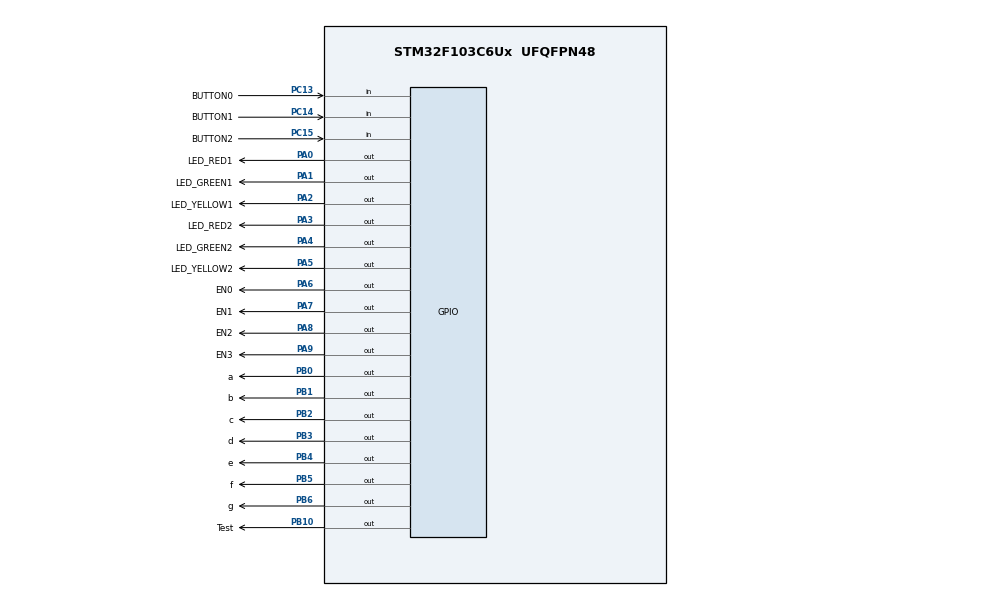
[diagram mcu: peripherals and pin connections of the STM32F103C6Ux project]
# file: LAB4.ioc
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Mcu.Family=STM32F1
Mcu.Name=STM32F103C6Ux
Mcu.Package=UFQFPN48
NVIC.PriorityGroup=NVIC_PRIORITYGROUP_4
NVIC.TIM2_IRQn=true\:0\:0\:false\:false\:true\:true\:true\:true
PA0-WKUP.GPIO_Label=LED_RED1
PA0-WKUP.Signal=GPIO_Output
PA1.GPIO_Label=LED_GREEN1
PA1.Signal=GPIO_Output
PA2.GPIO_Label=LED_YELLOW1
PA2.Signal=GPIO_Output
PA3.GPIO_Label=LED_RED2
PA3.Signal=GPIO_Output
PA4.GPIO_Label=LED_GREEN2
PA4.Signal=GPIO_Output
PA5.GPIO_Label=LED_YELLOW2
PA5.Signal=GPIO_Output
PA6.GPIO_Label=EN0
PA6.Signal=GPIO_Output
PA7.GPIO_Label=EN1
PA7.Signal=GPIO_Output
PA8.GPIO_Label=EN2
PA8.Signal=GPIO_Output
PA9.GPIO_Label=EN3
PA9.Signal=GPIO_Output
PB0.GPIO_Label=a
PB0.Signal=GPIO_Output
PB1.GPIO_Label=b
PB1.Signal=GPIO_Output
PB10.GPIO_Label=Test
PB10.Signal=GPIO_Output
PB2.GPIO_Label=c
PB2.Signal=GPIO_Output
PB3.GPIO_Label=d
PB3.Signal=GPIO_Output
PB4.GPIO_Label=e
PB4.Signal=GPIO_Output
PB5.GPIO_Label=f
PB5.Signal=GPIO_Output
PB6.GPIO_Label=g
PB6.Signal=GPIO_Output
PC13-TAMPER-RTC.GPIO_Label=BUTTON0
PC13-TAMPER-RTC.GPIO_PuPd=GPIO_PULLUP
PC13-TAMPER-RTC.Signal=GPIO_Input
PC14-OSC32_IN.GPIO_Label=BUTTON1
PC14-OSC32_IN.GPIO_PuPd=GPIO_PULLUP
PC14-OSC32_IN.Signal=GPIO_Input
PC15-OSC32_OUT.GPIO_Label=BUTTON2
PC15-OSC32_OUT.GPIO_PuPd=GPIO_PULLUP
PC15-OSC32_OUT.Signal=GPIO_Input
ProjectManager.HeapSize=0x200
ProjectManager.StackSize=0x400
ProjectManager.TargetToolchain=STM32CubeIDE
RCC.APB1Freq_Value=8000000
RCC.APB2Freq_Value=8000000
TIM2.Period=9
TIM2.Prescaler=7999
VP_SYS_VS_ND.Mode=No_Debug
VP_TIM2_VS_ClockSourceINT.Mode=Internal
board=custom

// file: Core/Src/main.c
/* USER CODE BEGIN Header */
/**
  ******************************************************************************
  * @file           : main.c
  * @brief          : Main program body
  ******************************************************************************
  * @attention
  *
  * Copyright (c) 2025 STMicroelectronics.
  * All rights reserved.
  *
  * This software is licensed under terms that can be found in the LICENSE file
  * in the root directory of this software component.
  * If no LICENSE file comes with this software, it is provided AS-IS.
  *
  ******************************************************************************
  */
/* USER CODE END Header */
#include "main.h"

/* USER CODE BEGIN Includes */
#include "software_timer.h"
#include "button.h"
#include "fsm_automatic.h"
#include "fsm_manual.h"
#include "scheduler.h"
/* USER CODE END Includes */

TIM_HandleTypeDef htim2;

void SystemClock_Config(void);
static void MX_GPIO_Init(void);
static void MX_TIM2_Init(void);

/* USER CODE BEGIN 0 */
void blink_led(){
	HAL_GPIO_TogglePin(Test_GPIO_Port, Test_Pin);
}
/* USER CODE END 0 */

int main(void)
{

  /* MCU Configuration--------------------------------------------------------*/

  /* Reset of all peripherals, Initializes the Flash interface and the Systick. */
  HAL_Init();

  /* Configure the system clock */
  SystemClock_Config();

  /* Initialize all configured peripherals */
  MX_GPIO_Init();
  MX_TIM2_Init();
  /* USER CODE BEGIN 2 */
HAL_TIM_Base_Start_IT(&htim2);
SCH_Init();

SCH_Add_Task(fsm_manual,0,10);
SCH_Add_Task(timerRun,10,10);
SCH_Add_Task(getKeyInput,20,10);
SCH_Add_Task(blink_led, 0, 1000);
  /* USER CODE END 2 */

  /* Infinite loop */
  /* USER CODE BEGIN WHILE */

  while (1)
  {
	  SCH_Dispatch_Tasks();
    /* USER CODE END WHILE */

  }
}

void SystemClock_Config(void)
{
  RCC_OscInitTypeDef RCC_OscInitStruct = {0};
  RCC_ClkInitTypeDef RCC_ClkInitStruct = {0};

  /** Initializes the RCC Oscillators according to the specified parameters
  * in the RCC_OscInitTypeDef structure.
  */
  RCC_OscInitStruct.OscillatorType = RCC_OSCILLATORTYPE_HSI;
  RCC_OscInitStruct.HSIState = RCC_HSI_ON;
  RCC_OscInitStruct.HSICalibrationValue = RCC_HSICALIBRATION_DEFAULT;
  RCC_OscInitStruct.PLL.PLLState = RCC_PLL_NONE;
  if (HAL_RCC_OscConfig(&RCC_OscInitStruct) != HAL_OK)
  {
    Error_Handler();
  }

  /** Initializes the CPU, AHB and APB buses clocks
  */
  RCC_ClkInitStruct.ClockType = RCC_CLOCKTYPE_HCLK|RCC_CLOCKTYPE_SYSCLK
                              |RCC_CLOCKTYPE_PCLK1|RCC_CLOCKTYPE_PCLK2;
  RCC_ClkInitStruct.SYSCLKSource = RCC_SYSCLKSOURCE_HSI;
  RCC_ClkInitStruct.AHBCLKDivider = RCC_SYSCLK_DIV1;
  RCC_ClkInitStruct.APB1CLKDivider = RCC_HCLK_DIV1;
  RCC_ClkInitStruct.APB2CLKDivider = RCC_HCLK_DIV1;

  if (HAL_RCC_ClockConfig(&RCC_ClkInitStruct, FLASH_LATENCY_0) != HAL_OK)
  {
    Error_Handler();
  }
}

static void MX_TIM2_Init(void)
{

  TIM_ClockConfigTypeDef sClockSourceConfig = {0};
  TIM_MasterConfigTypeDef sMasterConfig = {0};

  htim2.Instance = TIM2;
  htim2.Init.Prescaler = 7999;
  htim2.Init.CounterMode = TIM_COUNTERMODE_UP;
  htim2.Init.Period = 9;
  htim2.Init.ClockDivision = TIM_CLOCKDIVISION_DIV1;
  htim2.Init.AutoReloadPreload = TIM_AUTORELOAD_PRELOAD_DISABLE;
  if (HAL_TIM_Base_Init(&htim2) != HAL_OK)
  {
    Error_Handler();
  }
  sClockSourceConfig.ClockSource = TIM_CLOCKSOURCE_INTERNAL;
  if (HAL_TIM_ConfigClockSource(&htim2, &sClockSourceConfig) != HAL_OK)
  {
    Error_Handler();
  }
  sMasterConfig.MasterOutputTrigger = TIM_TRGO_RESET;
  sMasterConfig.MasterSlaveMode = TIM_MASTERSLAVEMODE_DISABLE;
  if (HAL_TIMEx_MasterConfigSynchronization(&htim2, &sMasterConfig) != HAL_OK)
  {
    Error_Handler();
  }

}

static void MX_GPIO_Init(void)
{
  GPIO_InitTypeDef GPIO_InitStruct = {0};

  /* GPIO Ports Clock Enable */
  __HAL_RCC_GPIOC_CLK_ENABLE();
  __HAL_RCC_GPIOA_CLK_ENABLE();
  __HAL_RCC_GPIOB_CLK_ENABLE();

  /*Configure GPIO pin Output Level */
  HAL_GPIO_WritePin(GPIOA, LED_RED1_Pin|LED_GREEN1_Pin|LED_YELLOW1_Pin|LED_RED2_Pin
                          |LED_GREEN2_Pin|LED_YELLOW2_Pin|EN0_Pin|EN1_Pin
                          |EN2_Pin|EN3_Pin, GPIO_PIN_RESET);

  /*Configure GPIO pin Output Level */
  HAL_GPIO_WritePin(GPIOB, a_Pin|b_Pin|c_Pin|Test_Pin
                          |d_Pin|e_Pin|f_Pin|g_Pin, GPIO_PIN_RESET);

  /*Configure GPIO pins : BUTTON0_Pin BUTTON1_Pin BUTTON2_Pin */
  GPIO_InitStruct.Pin = BUTTON0_Pin|BUTTON1_Pin|BUTTON2_Pin;
  GPIO_InitStruct.Mode = GPIO_MODE_INPUT;
  GPIO_InitStruct.Pull = GPIO_PULLUP;
  HAL_GPIO_Init(GPIOC, &GPIO_InitStruct);

  /*Configure GPIO pins : LED_RED1_Pin LED_GREEN1_Pin LED_YELLOW1_Pin LED_RED2_Pin
                           LED_GREEN2_Pin LED_YELLOW2_Pin EN0_Pin EN1_Pin
                           EN2_Pin EN3_Pin */
  GPIO_InitStruct.Pin = LED_RED1_Pin|LED_GREEN1_Pin|LED_YELLOW1_Pin|LED_RED2_Pin
                          |LED_GREEN2_Pin|LED_YELLOW2_Pin|EN0_Pin|EN1_Pin
                          |EN2_Pin|EN3_Pin;
  GPIO_InitStruct.Mode = GPIO_MODE_OUTPUT_PP;
  GPIO_InitStruct.Pull = GPIO_NOPULL;
  GPIO_InitStruct.Speed = GPIO_SPEED_FREQ_LOW;
  HAL_GPIO_Init(GPIOA, &GPIO_InitStruct);

  /*Configure GPIO pins : a_Pin b_Pin c_Pin Test_Pin
                           d_Pin e_Pin f_Pin g_Pin */
  GPIO_InitStruct.Pin = a_Pin|b_Pin|c_Pin|Test_Pin
                          |d_Pin|e_Pin|f_Pin|g_Pin;
  GPIO_InitStruct.Mode = GPIO_MODE_OUTPUT_PP;
  GPIO_InitStruct.Pull = GPIO_NOPULL;
  GPIO_InitStruct.Speed = GPIO_SPEED_FREQ_LOW;
  HAL_GPIO_Init(GPIOB, &GPIO_InitStruct);

}

/* USER CODE BEGIN 4 */

void HAL_TIM_PeriodElapsedCallback(TIM_HandleTypeDef *htim){
	SCH_Update();
}
/* USER CODE END 4 */

void Error_Handler(void)
{
  __disable_irq();
  while (1)
  {
  }
}
